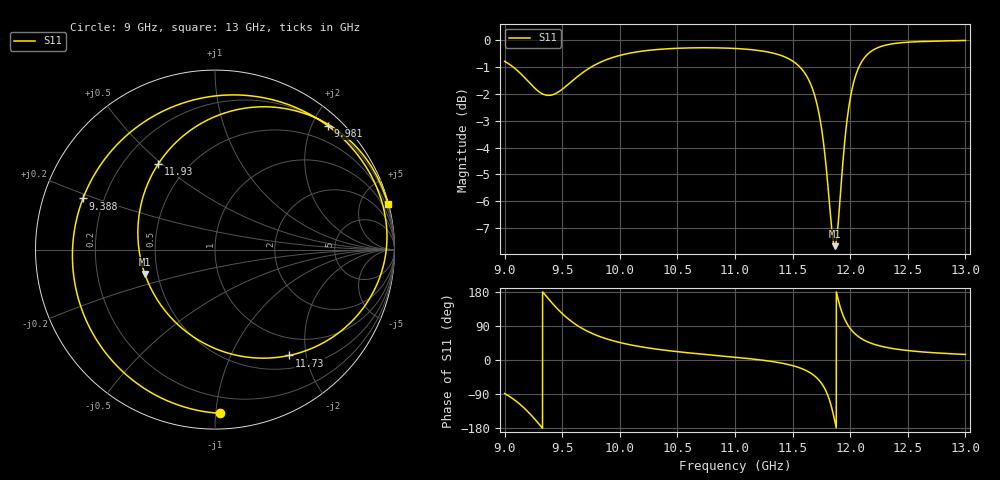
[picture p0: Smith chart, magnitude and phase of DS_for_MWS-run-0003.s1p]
! TOUCHSTONE file generated by CST DESIGN STUDIO
! Date and time: Tue Feb  4 17:29:42 2025
! Project name: C:\Work\MatlabApps\UnitCellOptimizationMatlab\CST\unitcell.cst
! Tree item: Tasks\Sweep1\SPara1\S-Parameters
! Header version: 2024
! Port assignment regex: !\s*Touchstone port\s*([0-9]+)\s*=\s*(CST MWS port|CST DES external port|CST DES block port)\s*(.+)\s* \(\"(.*)\"\)(\s*mode\s*([0-9]+))?.*
! Touchstone port assignment:
! Touchstone port 1 = CST DES external port 1 ("")
# GHz S MA R 50
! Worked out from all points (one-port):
!   4001 points, 9 GHz to 13 GHz, reference 50 ohm
!   lowest |S11| = -7.7 dB at 11.87 GHz (marker M1), VSWR 2.41, Z = 21.2 - j6.94 ohm
!   |S11| at or under -10 dB: nowhere
!   S11 on the Smith chart (normalised r, x): 9 GHz: 0.09, -1.02; 9.388 GHz: 0.12, +0.18; 9.981 GHz: 0.21, +2.25; 11.73 GHz: 0.70, -1.71; 11.93 GHz: 0.34, +0.49; 13 GHz: 0.07, +7.75
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9  0.9125 -88.4
9.095  0.8832 -107.5
9.178  0.8491 -129.2
9.289  0.804 -165.5
9.388  0.7888 158.8
9.5  0.8096 122.5
9.579  0.8362 102.1
9.672  0.8676 83.5
9.816  0.9056 63.0
9.981  0.9335 47.6
10  0.9358 46.1
10.5  0.9648 22.0
11  0.964 7.4
11.5  0.9136 -14.8
11.638  0.8444 -31.1
11.734  0.7206 -54.9
11.805  0.5404 -92.7
11.835  0.4556 -121.0
11.866  0.4139 -160.9
11.897  0.4599 157.7
11.931  0.5733 123.4
11.964  0.6843 100.6
12  0.778 83.2
12.08  0.8945 59.8
12.175  0.9499 44.9
12.306  0.9777 33.8
12.5  0.9902 25.0
13  0.9976 14.7
